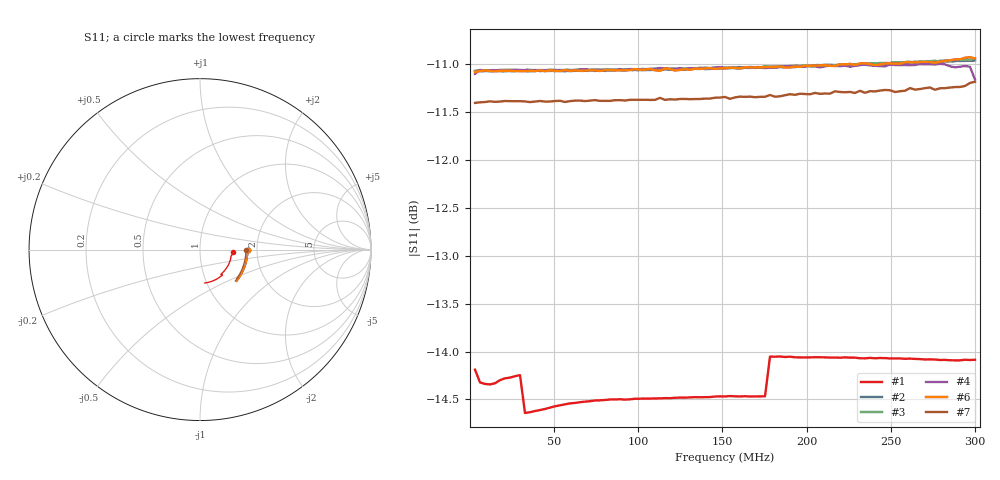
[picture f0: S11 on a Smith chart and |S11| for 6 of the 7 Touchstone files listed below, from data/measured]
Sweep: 3 MHz to 300 MHz
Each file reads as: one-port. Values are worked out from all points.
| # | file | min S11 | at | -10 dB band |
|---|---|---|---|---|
| 1 | 8753 attenuator.S1P | -14.6 dB | 32.7 MHz | over 297 MHz wide |
| 2 | 8753 calibrated attenutator attempt 2.S1P | -11.1 dB | 19.34 MHz | over 297 MHz wide |
| 3 | 8753 calibrated attenutator.S1P | -11.1 dB | 46.06 MHz | over 297 MHz wide |
| 4 | kirkby attenuator2.s1p | -11.2 dB | 300 MHz | over 297 MHz wide |
| 5 | nano attenuator2.s1p | -11.2 dB | 300 MHz | over 297 MHz wide |
| 6 | nano calibrated attenuator attempt 2.s1p | -11.1 dB | 3 MHz | over 297 MHz wide |
| 7 | nano calibrated attenuator.s1p | -11.4 dB | 3 MHz | over 297 MHz wide |
